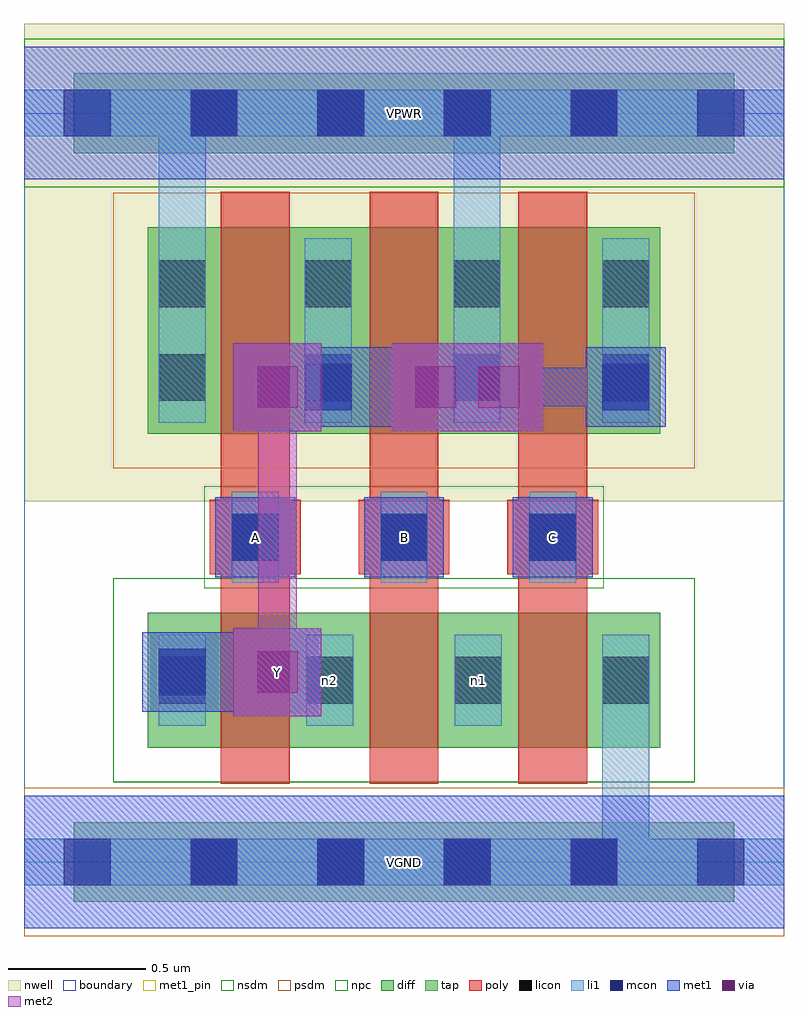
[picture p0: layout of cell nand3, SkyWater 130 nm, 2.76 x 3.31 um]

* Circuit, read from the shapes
.subckt nand3 A B C VGND VPWR Y n1 n2
XM1 n2 A Y VGND sky130_fd_pr__nfet_01v8 w=0.49 l=0.25
XM2 n1 B n2 VGND sky130_fd_pr__nfet_01v8 w=0.49 l=0.25
XM3 VGND C n1 VGND sky130_fd_pr__nfet_01v8 w=0.49 l=0.25
XM4 Y A VPWR VPWR sky130_fd_pr__pfet_01v8 w=0.75 l=0.25
XM5 VPWR B Y VPWR sky130_fd_pr__pfet_01v8 w=0.75 l=0.25
XM6 Y C VPWR VPWR sky130_fd_pr__pfet_01v8 w=0.75 l=0.25
.ends

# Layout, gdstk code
import gdstk
lib = gdstk.Library(unit=1e-6, precision=1e-09)
def R(c, l, rs):  # rectangles x0, y0, x1, y1
    for r in rs: c.add(gdstk.rectangle(r[:2], r[2:], *l))
def A(c, l, x, y, w, h, nx, ny, dx, dy):  # array of equal rectangles
    R(c, l, [(x+i*dx, y+j*dy, x+i*dx+w, y+j*dy+h) for i in range(nx) for j in range(ny)])
nwell = (64, 20)
diff = (65, 20)
tap = (65, 44)
poly = (66, 20)
licon = (66, 44)
li1 = (67, 20)
mcon = (67, 44)
met1_pin = (68, 16)
met1 = (68, 20)
via = (68, 44)
met2 = (69, 20)
nsdm = (93, 44)
psdm = (94, 20)
npc = (95, 20)
boundary = (235, 4)

nand3 = lib.new_cell('nand3')
R(nand3, nwell, [(0,1.31,2.76,3.045)])
R(nand3, diff, [(0.45,0.415,2.31,0.905), (0.45,1.555,2.31,2.305)])
R(nand3, tap, [(0.18,-0.145,2.58,0.145), (0.18,2.575,2.58,2.865)])
A(nand3, poly, 0.715, 0.285, 0.25, 2.15, 3, 1, 0.54, 0)
A(nand3, poly, 0.675, 1.045, 0.33, 0.27, 3, 1, 0.54, 0)
A(nand3, licon, 0.605, -0.085, 0.17, 0.17, 4, 2, 0.46, 2.72)
A(nand3, licon, 0.755, 1.095, 0.17, 0.17, 3, 1, 0.54, 0)
A(nand3, licon, 1.02, 1.675, 0.17, 0.17, 3, 2, 0.54, 0.34)
R(nand3, licon, [(0.49,0.575,0.66,0.745), (1.025,0.575,1.195,0.745), (1.565,0.575,1.735,0.745), (2.1,0.575,2.27,0.745), (0.49,1.675,0.66,1.845), (0.49,2.015,0.66,2.185)])
A(nand3, li1, 0.755, 1.015, 0.17, 0.33, 3, 1, 0.54, 0)
A(nand3, li1, 1.02, 1.595, 0.17, 0.67, 3, 1, 0.54, 0)
R(nand3, li1, [(0,-0.085,2.76,0.085), (2.1,-0.085,2.27,0.825), (0.49,0.495,0.66,0.825), (1.025,0.495,1.195,0.825), (1.565,0.495,1.735,0.825), (2.1,0.495,2.27,0.825), (0.49,1.595,0.66,2.265), (0.49,1.595,0.66,2.805), (1.56,1.595,1.73,2.805), (0,2.635,2.76,2.805)])
A(nand3, mcon, 0.145, -0.085, 0.17, 0.17, 6, 2, 0.46, 2.72)
A(nand3, mcon, 0.755, 1.095, 0.17, 0.17, 3, 1, 0.54, 0)
R(nand3, mcon, [(0.49,0.605,0.66,0.775), (1.02,1.64,1.19,1.81), (2.1,1.64,2.27,1.81)])
A(nand3, met1_pin, 0.695, 1.035, 0.29, 0.29, 3, 1, 0.54, 0)
R(nand3, met1_pin, [(0,-0.24,2.76,0.24), (0.76,0.53,1.08,0.85), (0,2.48,2.76,2.96)])
A(nand3, met1, 0.695, 1.035, 0.29, 0.29, 3, 1, 0.54, 0)
R(nand3, met1, [(0,-0.24,2.76,0.24), (0.76,0.53,1.08,0.85), (0.43,0.545,0.72,0.835), (0.72,0.545,0.76,0.835), (0.505,0.62,0.99,0.76), (0.76,1.565,1.08,1.885), (1.335,1.565,1.655,1.885), (1.565,1.565,1.885,1.885), (0.96,1.58,1.25,1.87), (1.25,1.58,1.335,1.87), (2.04,1.58,2.33,1.87), (0.85,1.655,1.175,1.795), (0.85,1.655,1.565,1.795), (1.655,1.655,2.255,1.795), (0,2.48,2.76,2.96)])
R(nand3, via, [(0.845,0.615,0.995,0.765), (0.845,1.65,0.995,1.8), (1.42,1.65,1.57,1.8), (1.65,1.65,1.8,1.8)])
R(nand3, met2, [(0.76,0.53,1.08,0.85), (0.85,0.62,0.99,1.795), (0.76,1.565,1.08,1.885), (1.335,1.565,1.655,1.885), (1.565,1.565,1.885,1.885), (1.425,1.655,1.795,1.795)])
R(nand3, nsdm, [(0.325,0.29,2.435,1.03), (0,2.45,2.76,2.99)])
R(nand3, psdm, [(0,-0.27,2.76,0.27), (0.325,1.43,2.435,2.43)])
R(nand3, npc, [(0.655,0.995,2.105,1.365)])
R(nand3, boundary, [(0,0,2.76,2.72)])
nand3.add(gdstk.Label('n2', (1.11,0.66), layer=67, texttype=5))
nand3.add(gdstk.Label('n1', (1.65,0.66), layer=67, texttype=5))
nand3.add(gdstk.Label('Y', (0.92,0.69), layer=68, texttype=5))
nand3.add(gdstk.Label('A', (0.84,1.18), layer=68, texttype=5))
nand3.add(gdstk.Label('B', (1.38,1.18), layer=68, texttype=5))
nand3.add(gdstk.Label('C', (1.92,1.18), layer=68, texttype=5))
nand3.add(gdstk.Label('VPWR', (1.38,2.72), layer=68, texttype=5))
nand3.add(gdstk.Label('VGND', (1.38,0), layer=68, texttype=5))
nand3.add(gdstk.Label('Y', (0.92,0.69), layer=68, texttype=16))
nand3.add(gdstk.Label('A', (0.84,1.18), layer=68, texttype=16))
nand3.add(gdstk.Label('B', (1.38,1.18), layer=68, texttype=16))
nand3.add(gdstk.Label('C', (1.92,1.18), layer=68, texttype=16))
nand3.add(gdstk.Label('VPWR', (1.38,2.72), layer=68, texttype=16))
nand3.add(gdstk.Label('VGND', (1.38,0), layer=68, texttype=16))

lib.write_gds('nand3.gds')
